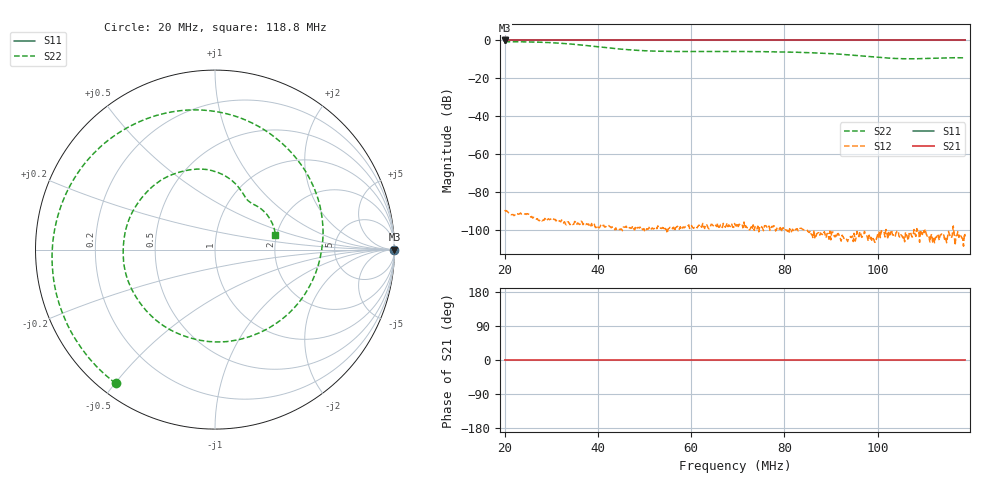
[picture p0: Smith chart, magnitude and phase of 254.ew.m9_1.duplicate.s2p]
! Anritsu VNA Master:  Model: MS2036C/10/77
! SN:  1601066
! /bd0/18may09/254.ew.m9_1.s2p
! Existing Calibration Information:
! TYPE:  Current Settings,  Active Cal Settings
! TIME:  05/09/2018 12:02:12 PM,  05/09/2018 11:52:33 AM
! INTERNAL TEMP:  54.3 C,  53.5 C
! # POINTS:  494,  494
! START FREQ:  20.000 MHz,  20.000 MHz
! STOP FREQ:  118.797 594 MHz,  118.797 594 MHz
! SOURCE POWER:  High,  High
! IFBW:  50 Hz,  50 Hz
! AVG FACTOR:  1 ,  1
! REF PLANE 1:  0 mm,  0 mm
! REF PLANE 2:  0 mm,  0 mm
! CAL TYPE:  Full S22,  Full S22
! CAL METHOD:  SOLT,  SOLT
! CAL LINE TYPE:  Coax,  Coax
! DUT PORT 1:  K-Conn(M),  K-Conn(M)
! DUT PORT 2:  K-Conn(M),  K-Conn(M)
! CAL STATUS:  OK: Accuracy High,  --
# GHZ S DB R 50.0
! FREQ.GHZ  S11DB  S11A  S21DB  S21A  S12DB  S12A  S22DB  S22A
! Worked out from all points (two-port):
!   494 points, 20 MHz to 118.8 MHz, reference 50 ohm
!   highest |S21| = 0.00 dB at 20 MHz (marker M1); lowest = 0.0 dB at 20 MHz (marker M2)
!   |S21| within 3 dB of the highest: start of sweep to end of sweep
!   lowest |S11| = 0.0 dB at 20 MHz (marker M3)
!   |S11| at or under -10 dB: nowhere
!   |S22| runs from -9.7 to -0.6 dB; largest |S21 - S12| = 1
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0.02  0.00 0.0  0.00 0.0  -89.45 33.7  -0.65 -126.6
0.02440882  0.00 0.0  0.00 0.0  -91.35 34.3  -0.73 -161.0
0.02621243  0.00 0.0  0.00 0.0  -93.23 21.5  -0.82 -176.2
0.02801603  0.00 0.0  0.00 0.0  -95.16 29.0  -0.96 167.7
0.03022044  0.00 0.0  0.00 0.0  -93.67 23.9  -1.20 147.1
0.03262525  0.00 0.0  0.00 0.0  -96.19 15.3  -1.59 123.8
0.03462926  0.00 0.0  0.00 0.0  -97.04 23.5  -1.98 103.2
0.03663327  0.00 0.0  0.00 0.0  -95.75 19.5  -2.45 82.4
0.04024048  0.00 0.0  0.00 0.0  -98.83 28.6  -3.43 44.6
0.0436473  0.00 0.0  0.00 0.0  -99.78 32.0  -4.28 9.9
0.04845691  0.00 0.0  0.00 0.0  -98.63 34.6  -5.22 -35.4
0.05306613  0.00 0.0  0.00 0.0  -99.10 40.2  -5.69 -73.2
0.05687375  0.00 0.0  0.00 0.0  -98.28 34.0  -5.82 -100.4
0.06148297  0.00 0.0  0.00 0.0  -97.83 31.0  -5.81 -130.1
0.06569138  0.00 0.0  0.00 0.0  -96.38 20.5  -5.78 -154.5
0.069499  0.00 0.0  0.00 0.0  -97.59 29.5  -5.79 -174.3
0.07851703  0.00 0.0  0.00 0.0  -98.37 -5.8  -6.04 143.6
0.08593186  0.00 0.0  0.00 0.0  -102.48 -8.3  -6.51 112.8
0.0945491  0.00 0.0  0.00 0.0  -103.11 24.3  -7.72 81.0
0.1023647  0.00 0.0  0.00 0.0  -100.65 -6.6  -9.31 61.5
0.112986  0.00 0.0  0.00 0.0  -102.89 5.6  -9.25 39.9
0.1187976  0.00 0.0  0.00 0.0  -103.33 -4.1  -9.22 13.4
